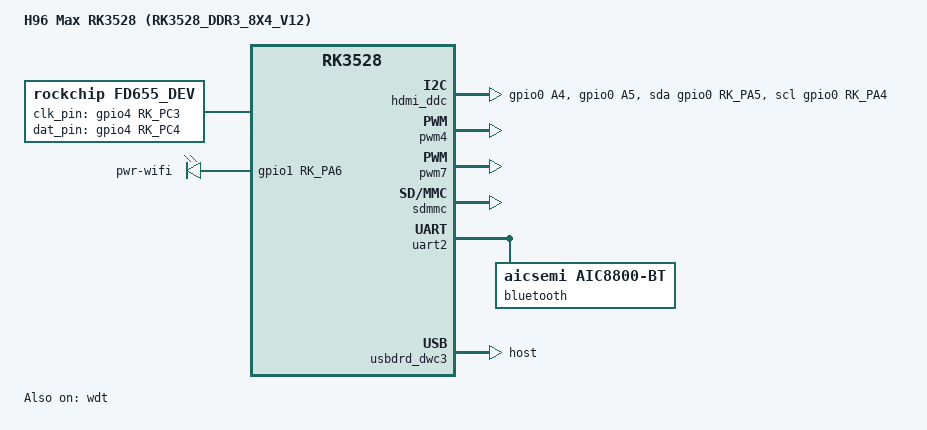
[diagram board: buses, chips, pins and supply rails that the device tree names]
/dts-v1/;

/*
 * Written by tools/dtcx/upstream.py from board.dts: a view, not edited.
 * Over rockchip-linux/kernel at 77168c8d5ab8.
 * Needs, beyond it, found by name and so best-effort: each
 * patch adding a name the tree uses or a dtsi change it keeps, which may in
 * turn need others before it:
 *   patches/linux-rockchip/bluetooth-hci-h4-serdev.patch:
 *     "aicsemi,aic8800-bt"
 */

#include "rk3528-evb2-ddr3-v10.dts"
#include <dt-bindings/clock/rk3528-cru.h>
#include <dt-bindings/gpio/gpio.h>
#include <dt-bindings/pinctrl/rockchip.h>
#include <dt-bindings/input/linux-event-codes.h>
#include <dt-bindings/suspend/rockchip-rk3528.h>

/ {
	/* board name first, as on the other boards */
	compatible = "h96max-rk3528,rk3528-tvbox", "rockchip,rk3528-evb2-ddr3-v10", "rockchip,rk3528";
	model = "H96 Max RK3528 (RK3528_DDR3_8X4_V12)";
	/delete-node/ chosen;

	fd655_dev {
		compatible = "rockchip,fd655_dev";
		clk_pin = <&gpio4 RK_PC3 GPIO_ACTIVE_HIGH>;
		dat_pin = <&gpio4 RK_PC4 GPIO_ACTIVE_HIGH>;
		status = "okay";
	};

	/* the HDMI DDC lines as a full I2C bus: dw-hdmi's own master reads the EDID but refuses DDC/CI */
	hdmi_ddc: i2c-hdmi-ddc {
		compatible = "i2c-gpio";
		sda-gpios = <&gpio0 RK_PA5 GPIO_OPEN_DRAIN>;
		scl-gpios = <&gpio0 RK_PA4 GPIO_OPEN_DRAIN>;
		i2c-gpio,delay-us = <5>;
		pinctrl-names = "default";
		pinctrl-0 = <&hdmi_ddc_gpio>;
		#address-cells = <1>;
		#size-cells = <0>;
	};

	leds: gpio-leds {
		compatible = "gpio-leds";

		pwr-wifi {
			gpios = <&gpio1 RK_PA6 GPIO_ACTIVE_HIGH>;
			linux,default-trigger = "none";
			default-state = "on";
		};
	};
};

&adc_keys {
	vol-up-key {
		/* The recovery button, not a volume key: mainline's code for one. */
		linux,code = <KEY_VENDOR>;
	};
};

&cpu0_opp_table {
	/delete-property/ mbist-vmin;
	/delete-property/ rockchip,temp-hysteresis;
	/delete-property/ rockchip,low-temp;
	/delete-property/ rockchip,low-temp-min-volt;
	nvmem-cells = <&cpu_leakage>, <&cpu_opp_info>;
	nvmem-cell-names = "leakage", "opp-info";
	rockchip,pvtm-voltage-sel = <0 1320 0>, <1321 1350 1>, <1351 1375 2>, <1376 1405 3>,
	                            <1406 1435 4>, <1436 1470 5>, <1471 1505 6>,
	                            <1506 1540 7>, <1541 1575 8>, <1576 1610 9>,
	                            <1611 1640 10>, <1641 9999 11>;

	opp-408000000 {
		opp-microvolt-L0 = <862500 862500 1100000>;
		opp-microvolt-L1 = <862500 862500 1100000>;
		opp-microvolt-L2 = <862500 862500 1100000>;
		opp-microvolt-L3 = <862500 862500 1100000>;
		opp-microvolt-L4 = <862500 862500 1100000>;
		opp-microvolt-L5 = <837500 837500 1100000>;
	};

	opp-600000000 {
		opp-microvolt-L0 = <862500 862500 1100000>;
		opp-microvolt-L1 = <862500 862500 1100000>;
		opp-microvolt-L2 = <862500 862500 1100000>;
		opp-microvolt-L3 = <862500 862500 1100000>;
		opp-microvolt-L4 = <862500 862500 1100000>;
		opp-microvolt-L5 = <837500 837500 1100000>;
	};

	opp-816000000 {
		opp-microvolt-L0 = <862500 862500 1100000>;
		opp-microvolt-L1 = <862500 862500 1100000>;
		opp-microvolt-L2 = <862500 862500 1100000>;
		opp-microvolt-L3 = <862500 862500 1100000>;
		opp-microvolt-L4 = <862500 862500 1100000>;
		opp-microvolt-L5 = <837500 837500 1100000>;
	};

	opp-1008000000 {
		opp-microvolt-L0 = <862500 862500 1100000>;
		opp-microvolt-L1 = <862500 862500 1100000>;
		opp-microvolt-L2 = <862500 862500 1100000>;
		opp-microvolt-L3 = <862500 862500 1100000>;
		opp-microvolt-L4 = <862500 862500 1100000>;
		opp-microvolt-L5 = <837500 837500 1100000>;
	};

	opp-1200000000 {
		opp-microvolt-L4 = <862500 862500 1100000>;
		opp-microvolt-L5 = <850000 850000 1100000>;
		opp-microvolt-L6 = <837500 837500 1100000>;
	};
};

&dfi {
	status = "disabled";
};

&dmc {
	/delete-property/ interrupts;
	/delete-property/ interrupt-names;
	/delete-property/ devfreq-events;
	/delete-property/ upthreshold;
	/delete-property/ downdifferential;
	/delete-property/ system-status-level;
	/delete-property/ auto-min-freq;
	/delete-property/ auto-freq-en;
};

&dmc_opp_table {
	/delete-property/ mbist-vmin;
	nvmem-cells = <&log_leakage>, <&dmc_opp_info>;
	nvmem-cell-names = "leakage", "opp-info";
	rockchip,leakage-voltage-sel = <1 10 0>, <11 14 1>, <15 22 2>, <23 28 3>,
	                               <29 254 4>;
	/delete-node/ opp-324000000;
	/delete-node/ opp-666000000;
};

&gpu {
	/* Mainline lima bindings replace the vendor Mali names. */
	interrupt-names = "gp", "gpmmu", "pp", "pp0", "ppmmu0", "pp1", "ppmmu1";
	clocks = <&cru ACLK_GPU_MALI>, <&cru ACLK_GPU_MALI>;
	clock-names = "bus", "core";
};

&gpu_bus_opp_table {
	rockchip,leakage-voltage-sel = <1 22 0>, <23 254 1>;
};

&gpu_opp_table {
	/delete-property/ mbist-vmin;
	/delete-property/ rockchip,temp-hysteresis;
	/delete-property/ rockchip,low-temp;
	/delete-property/ rockchip,low-temp-min-volt;
	nvmem-cells = <&gpu_leakage>, <&gpu_opp_info>;
	nvmem-cell-names = "leakage", "opp-info";
	rockchip,pvtm-voltage-sel = <0 750 0>, <751 770 1>, <771 790 2>, <791 810 3>,
	                            <811 830 4>, <831 850 5>, <851 870 6>, <871 890 7>,
	                            <891 9999 8>;
};

&gpu_power_model {
	ls = <0xffffc2d6 0x1071a 0x00>;
	ts = <0x302a42 0x1d55a 0xfffff636 0x27>;
};

&hdmi {
	/delete-property/ rockchip,cts-manual;
	pinctrl-names = "default", "idle";
	ddc-i2c-bus = <&hdmi_ddc>;
	pinctrl-1 = <&hdmi_pins_idle>;
};

&hdmi_pins {
	rockchip,pins = <0 RK_PA3 1 &pcfg_pull_none>;
};

&mpp_srv {
	/delete-property/ rockchip,iommu-shared-mask;
};

&otp {
	/delete-node/ cpu-mbist-vmin@9;
	/delete-node/ gpu-mbist-vmin@9;
	/delete-node/ logic-mbist-vmin@9;
	/delete-node/ cpu-tsadc-trim-l@44;
	/delete-node/ cpu-tsadc-trim-h@45;
};

&pcie20_usb30_avdd0v9 {
	status = "disabled";
};

&pcie20_usb30_avdd1v8 {
	status = "disabled";
};

&pcie2x1 {
	status = "disabled";
};

&pinctrl {
	hdmi {
		hdmi_ddc_gpio: hdmi-ddc-gpio {
			rockchip,pins = <0 RK_PA4 RK_FUNC_GPIO &pcfg_pull_none>,
			                <0 RK_PA5 RK_FUNC_GPIO &pcfg_pull_none>;
		};
	};
};

&pwm0 {
	status = "disabled";
};

&pwm1 {
	status = "disabled";
};

&pwm2 {
	/delete-property/ interrupts;
};

&pwm3 {
	/* Register IR as an ATF wake source. */
	remote_support_psci = <0x01>;
	/delete-node/ ir_key7;
	/delete-node/ ir_key8;
	/delete-node/ ir_key9;

	ir_key4 {
		rockchip,usercode = <0x7f80>;
		rockchip,key_table = <0xec KEY_REPLY>, <0xd8 KEY_BACK>, <0xc7 KEY_UP>,
		                     <0xbf KEY_DOWN>, <0xc8 KEY_LEFT>, <0xc6 KEY_RIGHT>,
		                     <0x8c KEY_HOME>, <0x78 KEY_VOLUMEUP>,
		                     <0x76 KEY_VOLUMEDOWN>, <0x7e KEY_POWER>,
		                     <0x7c KEY_MENU>, <0xb7 KEY_TEXT>;
	};

	ir_key5 {
		rockchip,usercode = <0xfe01>;
		rockchip,key_table = <0xec KEY_REPLY>, <0xe6 KEY_BACK>, <0xe9 KEY_UP>,
		                     <0xe5 KEY_DOWN>, <0xae KEY_LEFT>, <0xaf KEY_RIGHT>,
		                     <0xee KEY_HOME>, <0xe7 KEY_VOLUMEUP>,
		                     <0xef KEY_VOLUMEDOWN>, <0xbf KEY_POWER>,
		                     <0xbe KEY_MUTE>, <0xb3 KEY_MENU>, <0xff KEY_TEXT>,
		                     <0xb1 KEY_1>, <0xf2 KEY_2>, <0xf3 KEY_3>, <0xb5 KEY_4>,
		                     <0xf6 KEY_5>, <0xf7 KEY_6>, <0xb9 KEY_7>, <0xfa KEY_8>,
		                     <0xfb KEY_9>, <0xfe KEY_0>, <0xbd KEY_BACKSPACE>,
		                     <0xbc KEY_F13>, <0xf0 KEY_F16>, <0xb4 KEY_PREVIOUS>,
		                     <0xb8 KEY_A>, <0xb0 KEY_NEXT>;
	};

	ir_key6 {
		rockchip,usercode = <0xfd01>;
		/* The bundled remote, the one table no other board's stock has, onto the canonical keymap: OK, home, mouse and menu. */
		rockchip,key_table = <0x31 KEY_OK>, <0x2f KEY_BACK>, <0x35 KEY_UP>,
		                     <0x2d KEY_DOWN>, <0x66 KEY_LEFT>, <0x3e KEY_RIGHT>,
		                     <0x6a KEY_HOMEPAGE>, <0x5e KEY_VOLUMEUP>,
		                     <0x47 KEY_VOLUMEDOWN>, <0x23 KEY_POWER>,
		                     <0x3a KEY_TOUCHPAD_TOGGLE>, <0x0d KEY_MENU>;
	};
};

&pwm4 {
	/delete-property/ interrupts;
	status = "okay";
};

&pwm7 {
	clocks = <&cru CLK_PWM0>, <&cru PCLK_PWM0>;
	status = "okay";
};

&reboot_mode {
	mode-bootloader = <0x5242c301>;
	mode-charge = <0x5242c30b>;
	mode-fastboot = <0x5242c309>;
	mode-loader = <0x5242c301>;
	mode-normal = <0x5242c300>;
	mode-recovery = <0x5242c303>;
	mode-ums = <0x5242c30c>;
	mode-panic = <0x5242c307>;
	mode-watchdog = <0x5242c308>;
	/* Factory SPL reads this flag to enter Maskrom. */
	mode-maskrom = <0xef08a53c>;
};

&rmii0_phy {
	/delete-property/ pinctrl-0;
	/delete-property/ rockchip,thermal-zone;
};

&rockchip_suspend {
	rockchip,sleep-mode-config = <RKPM_SLP_ARMPD>;
	rockchip,wakeup-config = <(RKPM_CPU0_WKUP_EN | RKPM_GPIO_WKUP_EN)>;
	rockchip,pwm-regulator-config = <(RKPM_PWM0_M0_REGULATOR_EN | RKPM_PWM1_M0_REGULATOR_EN)>;
};

&route_hdmi {
	/delete-property/ logo,kernel;
	logo,mode = "fullscreen";
};

&route_tve {
	/delete-property/ logo,kernel;
	logo,mode = "fullscreen";
};

&sai3 {
	/delete-property/ assigned-clocks;
	/delete-property/ assigned-clock-rates;
	/delete-property/ rockchip,always-on;
};

&sdio0 {
	rockchip,use-v2-tuning;
};

&sdio_pwrseq {
	reset-gpios = <&gpio4 RK_PA4 GPIO_ACTIVE_LOW>;
};

&sdmmc {
	status = "okay";
};

&tsadc {
	/delete-property/ nvmem-cells;
	/delete-property/ nvmem-cell-names;
};

&tve {
	rockchip,tve-upsample = <0x02>;
};

&uart2 {
	/delete-property/ dmas;

	/* the AIC8800's Bluetooth, bound on the serdev bus by bluetooth-hci-h4-serdev */
	bluetooth {
		compatible = "aicsemi,aic8800-bt";
		max-speed = <1500000>;
	};
};

&usbdrd_dwc3 {
	/delete-property/ snps,dis-u1-entry-quirk;
	/delete-property/ snps,dis-u2-entry-quirk;
	/delete-property/ snps,parkmode-disable-hs-quirk;
	/delete-property/ snps,parkmode-disable-ss-quirk;
	dr_mode = "host";
	snps,dis-u1u2-quirk;
	snps,xhci-trb-ent-quirk;
};

&vcc3v3_pcie20 {
	status = "disabled";
};

&vdd_cpu {
	pwms = <&pwm7 0 5000 1>;
};

&vdd_gpu {
	pwms = <&pwm4 0 5000 1>;
};

&vop {
	/delete-property/ support-multi-area;
	/* Give Esmart0 a 4K line buffer; sub-windows do not reach HDMI. */
	esmart_lb_mode = [02];
};

&wdt {
	/* Let systemd recover a hung kernel. */
	status = "okay";
};

&wifi_enable_h {
	rockchip,pins = <4 RK_PA4 RK_FUNC_GPIO &pcfg_pull_none>;
};

&wireless_bluetooth {
	/delete-property/ bt_port;
};
